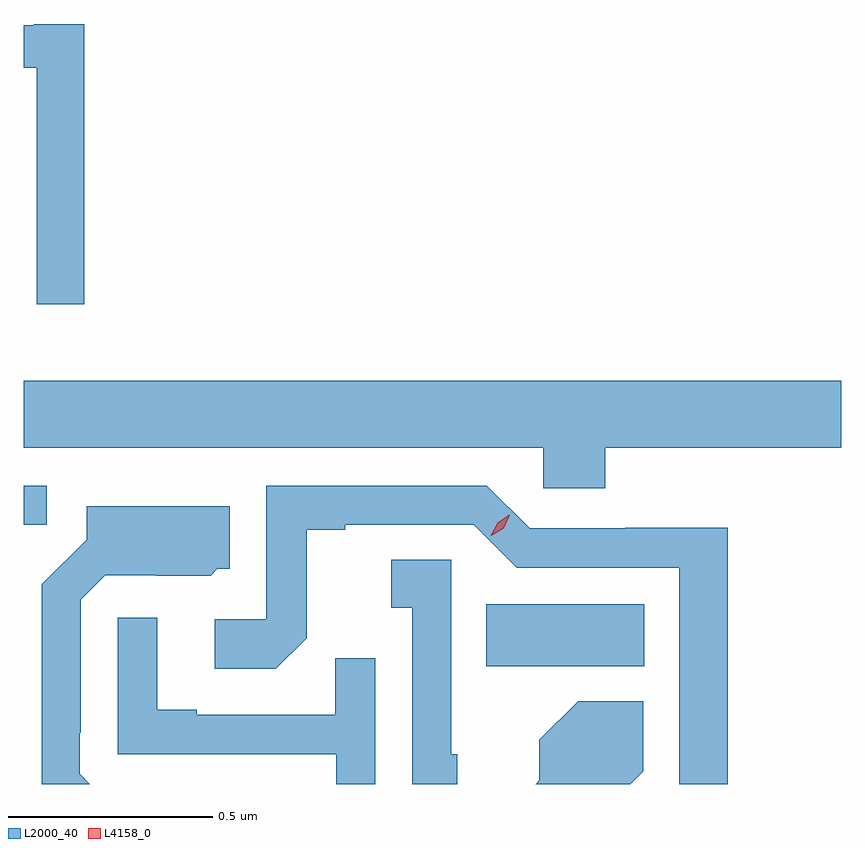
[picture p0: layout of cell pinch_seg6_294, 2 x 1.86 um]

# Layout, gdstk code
import gdstk
lib = gdstk.Library(unit=1e-6, precision=1e-09)
def R(c, l, rs):  # rectangles x0, y0, x1, y1
    for r in rs: c.add(gdstk.rectangle(r[:2], r[2:], *l))
def P(c, l, *ps):  # polygons
    for p in ps: c.add(gdstk.Polygon(p, *l))
L2000_40 = (2000, 40)
L4158_0 = (4158, 0)

pinch_seg6_294 = lib.new_cell('pinch_seg6_294')
R(pinch_seg6_294, L2000_40, [(798.706,994.754,799.093,994.906), (797.575,995.1,797.632,995.196)])
P(pinch_seg6_294, L2000_40, [(797.723,996.325),(797.6,996.325),(797.6,996.322),(797.575,996.322),(797.575,996.218),(797.607,996.218),(797.607,995.64),(797.723,995.64)],
  [(798.998,995.288),(799.575,995.288),(799.575,995.452),(797.575,995.452),(797.575,995.288),(798.846,995.288),(798.846,995.19),(798.998,995.19)],
  [(799.297,995.093),(799.046,995.093),(799.046,995.091),(798.813,995.091),(798.708,995.196),(798.168,995.196),(798.168,994.869),(798.042,994.869),(798.042,994.748),(798.192,994.748),(798.267,994.823),(798.267,995.088),(798.361,995.088),(798.361,995.1),(798.676,995.1),(798.781,994.995),(799.178,994.995),(799.178,994.466),(799.297,994.466)],
  [(797.712,994.491),(797.712,994.591),(797.715,994.591),(797.715,994.917),(797.775,994.977),(797.898,994.977),(797.898,994.976),(798.032,994.976),(798.048,994.992),(798.079,994.992),(798.079,995.146),(797.729,995.146),(797.729,995.064),(797.619,994.954),(797.619,994.466),(797.737,994.466)],
  [(798.635,994.539),(798.621,994.539),(798.621,995.015),(798.474,995.015),(798.474,994.897),(798.525,994.897),(798.525,994.466),(798.635,994.466)],
  [(798.435,994.774),(798.337,994.774),(798.337,994.635),(797.998,994.635),(797.998,994.648),(797.902,994.648),(797.902,994.873),(797.805,994.873),(797.805,994.539),(798.339,994.539),(798.339,994.466),(798.435,994.466)],
  [(799.09,994.497),(799.09,994.669),(798.931,994.669),(798.836,994.574),(798.836,994.475),(798.827,994.466),(799.059,994.466)])
P(pinch_seg6_294, L4158_0, [(798.718,995.073),(798.718,995.073),(798.734,995.105),(798.763,995.125),(798.764,995.125),(798.764,995.125),(798.749,995.092),(798.719,995.073)])

lib.write_gds('pinch_seg6_294.gds')
